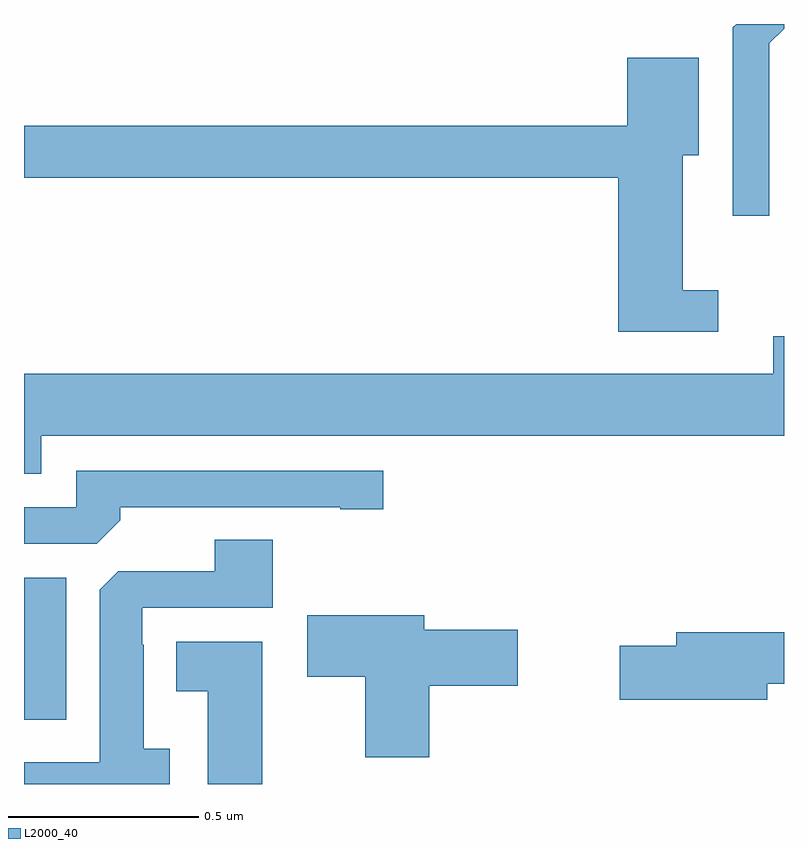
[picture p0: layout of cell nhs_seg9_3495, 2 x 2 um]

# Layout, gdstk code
import gdstk
lib = gdstk.Library(unit=1e-6, precision=1e-09)
def R(c, l, rs):  # rectangles x0, y0, x1, y1
    for r in rs: c.add(gdstk.rectangle(r[:2], r[2:], *l))
def P(c, l, *ps):  # polygons
    for p in ps: c.add(gdstk.Polygon(p, *l))
L2000_40 = (2000, 40)

nhs_seg9_3495 = lib.new_cell('nhs_seg9_3495')
R(nhs_seg9_3495, L2000_40, [(154,1199.669,154.111,1200.043)])
P(nhs_seg9_3495, L2000_40, [(155.961,1201.449),(156,1201.488),(156,1201.5),(155.874,1201.5),(155.865,1201.491),(155.865,1200.996),(155.961,1200.996)],
  [(155.827,1200.799),(155.734,1200.799),(155.734,1201.154),(155.776,1201.154),(155.776,1201.411),(155.588,1201.411),(155.588,1201.232),(154,1201.232),(154,1201.096),(155.564,1201.096),(155.564,1200.69),(155.827,1200.69)],
  [(154.045,1200.416),(156,1200.416),(156,1200.678),(155.972,1200.678),(155.972,1200.58),(154,1200.58),(154,1200.317),(154.045,1200.317)],
  [(154.253,1200.194),(154.253,1200.228),(154.832,1200.228),(154.832,1200.223),(154.945,1200.223),(154.945,1200.324),(154.137,1200.324),(154.137,1200.228),(154,1200.228),(154,1200.132),(154.191,1200.132)],
  [(154.384,1199.593),(154.315,1199.593),(154.315,1199.867),(154.311,1199.867),(154.311,1199.964),(154.655,1199.964),(154.655,1200.143),(154.502,1200.143),(154.502,1200.06),(154.248,1200.06),(154.199,1200.011),(154.199,1199.557),(154,1199.557),(154,1199.5),(154.384,1199.5)],
  [(155.066,1199.759),(155.299,1199.759),(155.299,1199.906),(155.053,1199.906),(155.053,1199.944),(154.746,1199.944),(154.746,1199.782),(154.898,1199.782),(154.898,1199.571),(155.066,1199.571)],
  [(155.956,1199.764),(156,1199.764),(156,1199.9),(155.717,1199.9),(155.717,1199.864),(155.568,1199.864),(155.568,1199.722),(155.956,1199.722)],
  [(154.627,1199.875),(154.4,1199.875),(154.4,1199.744),(154.484,1199.744),(154.484,1199.5),(154.627,1199.5)])

lib.write_gds('nhs_seg9_3495.gds')
